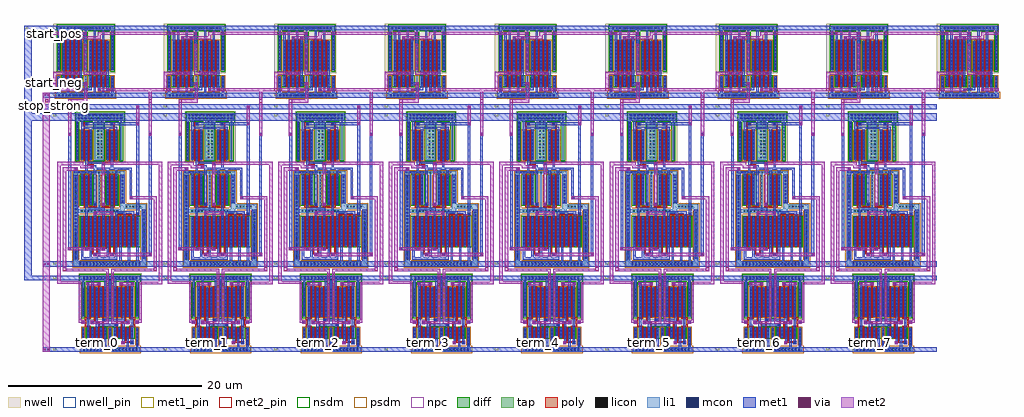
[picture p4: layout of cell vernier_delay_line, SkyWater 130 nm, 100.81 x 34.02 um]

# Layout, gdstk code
import gdstk
lib = gdstk.Library(unit=1e-6, precision=1e-09)
def R(c, l, rs):  # rectangles x0, y0, x1, y1
    for r in rs: c.add(gdstk.rectangle(r[:2], r[2:], *l))
def A(c, l, x, y, w, h, nx, ny, dx, dy):  # array of equal rectangles
    R(c, l, [(x+i*dx, y+j*dy, x+i*dx+w, y+j*dy+h) for i in range(nx) for j in range(ny)])
nwell_pin = (64, 16)
nwell = (64, 20)
diff = (65, 20)
tap = (65, 44)
poly = (66, 20)
licon = (66, 44)
li1 = (67, 20)
mcon = (67, 44)
met1_pin = (68, 16)
met1 = (68, 20)
via = (68, 44)
met2_pin = (69, 16)
met2 = (69, 20)
nsdm = (93, 44)
psdm = (94, 20)
npc = (95, 20)

sky130_fd_pr__pfet_01v8_ = lib.new_cell('sky130_fd_pr__pfet_01v8_2K9SAN')
R(sky130_fd_pr__pfet_01v8_, nwell, [(-0.545,-1.81,0.545,1.81)])
R(sky130_fd_pr__pfet_01v8_, diff, [(-0.365,-1.5,0.365,1.5)])
R(sky130_fd_pr__pfet_01v8_, poly, [(-0.075,-1.63,0.075,1.63)])
A(sky130_fd_pr__pfet_01v8_, licon, -0.305, -1.275, 0.17, 0.17, 1, 8, 0, 0.34)
A(sky130_fd_pr__pfet_01v8_, licon, 0.135, -1.275, 0.17, 0.17, 1, 8, 0, 0.34)
R(sky130_fd_pr__pfet_01v8_, li1, [(-0.305,-1.52,-0.135,1.52), (0.135,-1.52,0.305,1.52)])
A(sky130_fd_pr__pfet_01v8_, mcon, -0.305, -1.345, 0.17, 0.17, 1, 8, 0, 0.36)
A(sky130_fd_pr__pfet_01v8_, mcon, 0.135, -1.345, 0.17, 0.17, 1, 8, 0, 0.36)
R(sky130_fd_pr__pfet_01v8_, met1, [(-0.335,-1.5,-0.105,1.5), (0.105,-1.5,0.335,1.5)])
R(sky130_fd_pr__pfet_01v8_, psdm, [(-0.49,-1.625,0.49,1.625)])

sky130_fd_pr__nfet_01v8_ = lib.new_cell('sky130_fd_pr__nfet_01v8_NM9Y3C')
R(sky130_fd_pr__nfet_01v8_, diff, [(-0.365,-1.5,0.365,1.5)])
R(sky130_fd_pr__nfet_01v8_, poly, [(-0.075,-1.63,0.075,1.63)])
A(sky130_fd_pr__nfet_01v8_, licon, -0.305, -1.275, 0.17, 0.17, 1, 8, 0, 0.34)
A(sky130_fd_pr__nfet_01v8_, licon, 0.135, -1.275, 0.17, 0.17, 1, 8, 0, 0.34)
R(sky130_fd_pr__nfet_01v8_, li1, [(-0.305,-1.52,-0.135,1.52), (0.135,-1.52,0.305,1.52)])
A(sky130_fd_pr__nfet_01v8_, mcon, -0.305, -1.345, 0.17, 0.17, 1, 8, 0, 0.36)
A(sky130_fd_pr__nfet_01v8_, mcon, 0.135, -1.345, 0.17, 0.17, 1, 8, 0, 0.36)
R(sky130_fd_pr__nfet_01v8_, met1, [(-0.335,-1.5,-0.105,1.5), (0.105,-1.5,0.335,1.5)])
R(sky130_fd_pr__nfet_01v8_, nsdm, [(-0.49,-1.625,0.49,1.625)])

sense_amplifier = lib.new_cell('sense_amplifier')
R(sense_amplifier, nwell, [(-0.36,21.18,0.1,21.48), (1.63,21.18,2.74,24.8), (4.27,21.18,4.86,24.8), (-0.36,21.48,0.14,24.54), (-0.36,24.54,0.1,24.8), (0.31,24.73,0.54,24.8), (0.55,24.76,1.09,24.8), (-0.36,24.8,4.86,26.5)])
R(sense_amplifier, tap, [(-0.47,10.45,7.04,11.01), (-0.47,11.01,0.01,16.01), (6.56,11.01,7.04,16.42), (-0.47,16.01,4.85,16.41), (-0.47,16.41,0.01,20.13), (2.08,16.41,2.28,20.13), (4.37,16.41,4.85,16.42), (4.37,16.42,7.04,16.89), (4.37,16.89,4.85,20.13), (-0.47,20.13,4.85,20.3), (-0.17,21.47,0.01,25.53), (1.72,21.47,2.65,25.53), (4.36,21.47,4.54,25.53), (-0.17,25.53,4.68,26.32)])
R(sense_amplifier, poly, [(1.58,11.56,1.91,11.74), (3.34,11.56,3.67,11.74), (1.45,11.74,2.04,11.89), (3.21,11.74,3.8,11.89), (1.45,11.89,1.6,12.48), (1.89,11.89,2.04,12.48), (3.21,11.89,3.36,12.48), (3.65,11.89,3.8,12.48), (0.7,12.13,1.03,12.31), (2.46,12.13,2.79,12.31), (0.57,12.31,1.16,12.46), (2.33,12.31,2.92,12.46), (0.57,12.46,0.72,12.48), (1.01,12.46,1.16,12.48), (2.33,12.46,2.48,12.48), (2.77,12.46,2.92,12.48), (4.09,15.74,6.33,15.89), (6,15.89,6.33,16.07), (0.57,16.58,1.91,16.73), (2.45,16.58,3.8,16.73), (1.58,16.73,1.91,17.06), (2.45,16.73,2.78,17.06), (1.29,20.6,1.62,20.91), (1.01,20.91,1.62,21.06), (2.45,20.97,2.78,21.15), (1.01,21.06,1.16,21.36), (2.45,21.15,3.36,21.3), (3.21,21.3,3.36,21.37), (0.57,24.62,0.72,25.03), (3.65,24.62,3.8,25.03), (0.57,25.03,1.03,25.36), (3.34,25.03,3.8,25.36)])
A(sense_amplifier, licon, 0.14, 10.475, 0.17, 0.17, 19, 2, 0.34, 0.34)
A(sense_amplifier, licon, -0.315, 11.19, 0.17, 0.17, 1, 26, 0, 0.34)
A(sense_amplifier, licon, 6.715, 11.26, 0.17, 0.17, 1, 15, 0, 0.34)
A(sense_amplifier, licon, 0.3, 16.125, 0.17, 0.17, 5, 1, 0.34, 0)
A(sense_amplifier, licon, 2.6, 16.125, 0.17, 0.17, 5, 1, 0.34, 0)
A(sense_amplifier, licon, 4.935, 16.57, 0.17, 0.17, 5, 1, 0.34, 0)
A(sense_amplifier, licon, 2.095, 16.655, 0.17, 0.17, 1, 10, 0, 0.34)
A(sense_amplifier, licon, 4.525, 17.19, 0.17, 0.17, 1, 8, 0, 0.34)
A(sense_amplifier, licon, 0.025, 20.13, 0.17, 0.17, 6, 1, 0.34, 0)
A(sense_amplifier, licon, 2.475, 20.13, 0.17, 0.17, 6, 1, 0.34, 0)
A(sense_amplifier, licon, 2, 21.66, 0.17, 0.17, 1, 12, 0, 0.34)
A(sense_amplifier, licon, 2.34, 21.66, 0.17, 0.17, 1, 12, 0, 0.34)
A(sense_amplifier, licon, -0.165, 21.69, 0.17, 0.17, 1, 11, 0, 0.34)
A(sense_amplifier, licon, 4.365, 21.69, 0.17, 0.17, 1, 11, 0, 0.34)
A(sense_amplifier, licon, -0.04, 25.74, 0.17, 0.17, 14, 2, 0.34, 0.34)
R(sense_amplifier, licon, [(1.66,11.64,1.83,11.81), (3.42,11.64,3.59,11.81), (0.78,12.21,0.95,12.38), (2.54,12.21,2.71,12.38), (6.08,15.82,6.25,15.99), (2.095,16.125,2.265,16.295), (1.66,16.81,1.83,16.98), (2.53,16.81,2.7,16.98), (2.095,20.13,2.265,20.3), (1.37,20.68,1.54,20.85), (2.53,21.05,2.7,21.22), (0.79,25.11,0.96,25.28), (3.41,25.11,3.58,25.28)])
R(sense_amplifier, li1, [(-0.47,10.45,7.04,11.01), (-0.47,11.01,0.01,16.01), (6.56,11.01,7.04,16.42), (1.58,11.61,1.91,11.84), (3.34,11.61,3.67,11.84), (0.7,12.18,1.03,12.41), (2.46,12.18,2.79,12.41), (6,15.8,6.33,16.01), (-0.47,16.01,4.85,16.41), (-0.47,16.41,0.01,20.13), (2.08,16.41,2.28,20.13), (4.37,16.41,4.85,16.42), (4.37,16.42,7.04,16.89), (1.58,16.78,1.91,17.01), (2.45,16.78,2.78,17.01), (4.37,16.89,4.85,20.13), (-0.47,20.13,4.85,20.3), (1.34,20.6,1.57,20.94), (2.5,20.97,2.73,21.3), (-0.17,21.47,0.01,25.53), (1.72,21.47,2.65,25.53), (4.36,21.47,4.54,25.53), (0.76,25.03,0.99,25.36), (3.38,25.03,3.61,25.36), (-0.17,25.53,4.68,26.32)])
A(sense_amplifier, mcon, 0.14, 10.645, 0.17, 0.17, 18, 1, 0.36, 0)
A(sense_amplifier, mcon, -0.315, 11.3, 0.17, 0.17, 1, 24, 0, 0.36)
A(sense_amplifier, mcon, 6.715, 11.3, 0.17, 0.17, 1, 14, 0, 0.36)
A(sense_amplifier, mcon, 4.525, 17.12, 0.17, 0.17, 1, 8, 0, 0.36)
A(sense_amplifier, mcon, -0.165, 21.59, 0.17, 0.17, 1, 11, 0, 0.36)
A(sense_amplifier, mcon, 0.01, 25.66, 0.17, 0.17, 13, 2, 0.36, 0.36)
R(sense_amplifier, mcon, [(1.66,11.64,1.83,11.81), (3.42,11.64,3.59,11.81), (0.78,12.21,0.95,12.38), (2.54,12.21,2.71,12.38), (6.08,15.82,6.25,15.99), (1.66,16.81,1.83,16.98), (2.53,16.81,2.7,16.98), (1.37,20.68,1.54,20.85), (2.53,21.05,2.7,21.22), (0.79,25.11,0.96,25.28), (3.41,25.11,3.58,25.28)])
R(sense_amplifier, met1_pin, [(-2.57,10.69,-2.25,11.01), (-2.57,26,-2.25,26.32), (-2.57,26.91,-2.25,27.23)])
A(sense_amplifier, met1, 4.27, 11.01, 0.23, 1.6, 3, 1, 0.88, 0)
A(sense_amplifier, met1, 0.31, 11.42, 0.23, 1.19, 5, 1, 0.88, 0)
A(sense_amplifier, met1, 3.83, 15.61, 0.23, 0.34, 3, 1, 0.88, 0)
R(sense_amplifier, met1, [(-2.57,10.45,8.84,11.01), (-0.47,11.01,0.01,19.93), (6.56,11.01,7.04,16.33), (0.31,11.19,4.06,11.42), (1.58,11.56,1.91,11.89), (3.34,11.56,3.67,11.89), (7.3,11.56,7.63,11.89), (7.3,11.89,7.59,23.98), (-1.04,12.13,-0.71,12.46), (0.7,12.13,1.03,12.46), (2.46,12.13,2.79,12.46), (-1,12.46,-0.71,23.98), (0.75,15.61,0.98,16.31), (1.63,15.61,1.86,15.84), (2.51,15.61,2.74,16.31), (3.39,15.61,3.62,15.84), (6.02,15.78,6.31,25.06), (1.63,15.84,1.96,16.17), (3.29,15.84,3.62,16.17), (3.83,15.95,5.82,16.18), (3.39,16.17,3.62,16.86), (0.75,16.31,2.74,16.54), (0.75,16.54,0.98,16.86), (2.45,16.73,2.78,17.06), (1.62,16.75,1.87,20.47), (4.37,17,4.85,19.93), (5.33,17.42,5.65,17.74), (5.33,17.74,5.56,20.47), (0.31,19.86,0.54,20.1), (1.19,19.86,1.42,20.1), (2.95,19.86,3.18,20.47), (3.83,19.86,4.06,20.47), (-0.37,20.1,1.42,20.33), (-0.37,20.33,-0.03,20.72), (0.75,20.33,0.98,21.08), (1.62,20.47,5.56,20.6), (1.29,20.6,5.56,20.7), (1.29,20.7,1.87,20.94), (3.39,20.7,3.62,21.49), (2.45,20.97,2.78,21.08), (0.75,21.08,2.78,21.3), (0.75,21.3,0.98,21.49), (-0.2,21.49,0.04,25.53), (-1.03,23.98,-0.71,24.3), (7.3,23.98,7.62,24.3), (0.31,24.49,0.54,24.68), (1.19,24.49,1.42,24.68), (2.95,24.49,3.18,24.68), (3.83,24.49,4.06,24.68), (0.31,24.68,4.06,24.91), (0.31,24.91,0.54,25.53), (6.02,25.06,6.34,25.08), (0.73,25.08,6.34,25.38), (-2.57,25.53,8.84,26.32), (-2.57,26.73,8.84,27.23)])
R(sense_amplifier, via, [(1.67,11.65,1.82,11.8), (3.43,11.65,3.58,11.8), (7.39,11.65,7.54,11.8), (-0.95,12.22,-0.8,12.37), (0.79,12.22,0.94,12.37), (2.55,12.22,2.7,12.37), (1.725,15.93,1.875,16.08), (3.385,15.93,3.535,16.08), (2.54,16.82,2.69,16.97), (5.415,17.505,5.565,17.655), (-0.275,20.475,-0.125,20.625), (1.38,20.69,1.53,20.84), (2.54,21.06,2.69,21.21), (-0.945,24.065,-0.795,24.215), (7.385,24.065,7.535,24.215), (6.105,25.145,6.255,25.295), (6.105,26.835,6.255,26.985)])
R(sense_amplifier, met2_pin, [(-1.56,10.06,-1.22,10.4), (7.81,10.06,8.14,10.39), (-1.03,27.41,-0.71,27.73), (7.3,27.41,7.62,27.73)])
R(sense_amplifier, met2, [(-2.12,10.06,-1.78,20.94), (-1.56,10.06,-1.22,20.38), (7.81,10.06,8.14,17.42), (8.36,10.06,8.69,20.98), (1.58,11.56,7.63,11.89), (-1.04,12.13,2.79,12.46), (1.63,15.84,3.62,16.17), (2.45,16.73,2.78,20.98), (5.33,17.42,8.14,17.74), (-1.56,20.38,-0.03,20.72), (0.21,20.6,1.62,20.94), (-2.12,20.94,0.55,21.28), (2.45,20.98,8.69,21.28), (2.45,21.28,2.78,21.3), (-1.03,23.98,-0.71,27.73), (7.3,23.98,7.62,27.73), (6.02,25.06,6.34,27.08)])
R(sense_amplifier, nsdm, [(-0.295,21.345,0.135,25.405), (1.595,21.345,2.775,25.405), (4.235,21.345,4.665,25.405), (-0.295,25.405,4.805,26.445)])
R(sense_amplifier, psdm, [(-0.595,10.325,7.165,11.135), (-0.595,11.135,0.135,15.885), (6.435,11.135,7.165,16.295), (-0.595,15.885,4.975,16.295), (-0.595,16.295,7.165,16.535), (-0.595,16.535,0.135,20.005), (1.955,16.535,2.405,20.005), (4.245,16.535,7.165,17.015), (4.245,17.015,4.975,20.005), (-0.595,20.005,4.975,20.425)])
R(sense_amplifier, npc, [(1.56,11.54,1.93,11.91), (3.32,11.54,3.69,11.91), (0.68,12.11,1.05,12.48), (2.44,12.11,2.81,12.48), (5.98,15.72,6.35,16.09), (1.56,16.71,1.93,17.08), (2.43,16.71,2.8,17.08), (1.27,20.58,1.64,20.95), (2.43,20.95,2.8,21.32), (0.69,25.01,1.06,25.38), (3.31,25.01,3.68,25.38)])
sense_amplifier.add(gdstk.Reference(sky130_fd_pr__pfet_01v8_, (3.285,22.99)))
sense_amplifier.add(gdstk.Reference(sky130_fd_pr__pfet_01v8_, (1.085,22.99)))
sense_amplifier.add(gdstk.Reference(sky130_fd_pr__pfet_01v8_, (0.645,22.99)))
sense_amplifier.add(gdstk.Reference(sky130_fd_pr__pfet_01v8_, (3.725,22.99)))
sense_amplifier.add(gdstk.Reference(sky130_fd_pr__nfet_01v8_, (5.485,14.11)))
sense_amplifier.add(gdstk.Reference(sky130_fd_pr__nfet_01v8_, (5.045,14.11)))
sense_amplifier.add(gdstk.Reference(sky130_fd_pr__nfet_01v8_, (4.605,14.11)))
sense_amplifier.add(gdstk.Reference(sky130_fd_pr__nfet_01v8_, (4.165,14.11)))
sense_amplifier.add(gdstk.Reference(sky130_fd_pr__nfet_01v8_, (2.405,14.11)))
sense_amplifier.add(gdstk.Reference(sky130_fd_pr__nfet_01v8_, (3.285,14.11)))
sense_amplifier.add(gdstk.Reference(sky130_fd_pr__nfet_01v8_, (2.845,14.11)))
sense_amplifier.add(gdstk.Reference(sky130_fd_pr__nfet_01v8_, (5.925,14.11)))
sense_amplifier.add(gdstk.Reference(sky130_fd_pr__nfet_01v8_, (1.965,14.11)))
sense_amplifier.add(gdstk.Reference(sky130_fd_pr__nfet_01v8_, (1.525,14.11)))
sense_amplifier.add(gdstk.Reference(sky130_fd_pr__nfet_01v8_, (1.085,14.11)))
sense_amplifier.add(gdstk.Reference(sky130_fd_pr__nfet_01v8_, (3.725,14.11)))
sense_amplifier.add(gdstk.Reference(sky130_fd_pr__nfet_01v8_, (3.725,18.36)))
sense_amplifier.add(gdstk.Reference(sky130_fd_pr__nfet_01v8_, (3.285,18.36)))
sense_amplifier.add(gdstk.Reference(sky130_fd_pr__nfet_01v8_, (0.645,18.36)))
sense_amplifier.add(gdstk.Reference(sky130_fd_pr__nfet_01v8_, (1.085,18.36)))
sense_amplifier.add(gdstk.Reference(sky130_fd_pr__nfet_01v8_, (0.645,14.11)))
sense_amplifier.add(gdstk.Label('d', (-0.87,27.57), layer=69, texttype=5))
sense_amplifier.add(gdstk.Label('nd', (7.46,27.57), layer=69, texttype=5))
sense_amplifier.add(gdstk.Label('clk', (-2.41,27.07), layer=68, texttype=5))
sense_amplifier.add(gdstk.Label('out1', (-1.39,10.23), layer=69, texttype=5))
sense_amplifier.add(gdstk.Label('out2', (7.975,10.225), layer=69, texttype=5))
sense_amplifier.add(gdstk.Label('VDD', (-2.41,26.16), layer=68, texttype=5))
sense_amplifier.add(gdstk.Label('VSS', (-2.41,10.85), layer=68, texttype=5))

c_sky130_fd_pr__nfet_01v8_ = lib.new_cell('sky130_fd_pr__nfet_01v8_6H9P4D')
R(c_sky130_fd_pr__nfet_01v8_, diff, [(-0.365,-0.5,0.365,0.5)])
R(c_sky130_fd_pr__nfet_01v8_, poly, [(-0.075,-0.63,0.075,0.63)])
A(c_sky130_fd_pr__nfet_01v8_, licon, -0.305, -0.425, 0.17, 0.17, 1, 3, 0, 0.34)
A(c_sky130_fd_pr__nfet_01v8_, licon, 0.135, -0.425, 0.17, 0.17, 1, 3, 0, 0.34)
R(c_sky130_fd_pr__nfet_01v8_, li1, [(-0.305,-0.52,-0.135,0.52), (0.135,-0.52,0.305,0.52)])
R(c_sky130_fd_pr__nfet_01v8_, mcon, [(-0.305,-0.265,-0.135,-0.095), (0.135,-0.265,0.305,-0.095), (-0.305,0.095,-0.135,0.265), (0.135,0.095,0.305,0.265)])
R(c_sky130_fd_pr__nfet_01v8_, met1, [(-0.335,-0.5,-0.105,0.5), (0.105,-0.5,0.335,0.5)])
R(c_sky130_fd_pr__nfet_01v8_, nsdm, [(-0.49,-0.625,0.49,0.625)])

saff_bottom_latch = lib.new_cell('saff_bottom_latch')
R(saff_bottom_latch, nwell, [(29.22,-5.56,29.95,-1.94), (32.21,-5.56,33.3,-1.94), (34.98,-5.56,35.7,-1.94), (29.22,-1.94,35.7,-0.76)])
R(saff_bottom_latch, tap, [(29.43,-8.9,35.5,-8.39), (29.59,-8.39,29.77,-6.4), (32.36,-8.39,32.54,-6.4), (35.16,-8.39,35.34,-6.4), (29.59,-5.27,29.77,-1.52), (32.36,-5.27,32.54,-1.52), (35.16,-5.27,35.34,-1.52), (29.4,-1.52,35.52,-1.01)])
R(saff_bottom_latch, poly, [(34.55,-8.11,34.88,-7.93), (30.02,-8.1,30.35,-7.92), (33.98,-7.93,34.88,-7.78), (30.02,-7.92,30.92,-7.77), (33.98,-7.78,34.13,-7.55), (30.77,-7.77,30.92,-7.54), (29.83,-6.34,30.48,-6.19), (34.42,-6.34,35.07,-6.19), (33.1,-6.3,33.25,-6.26), (31.21,-6.29,31.36,-5.98), (31.65,-6.29,31.8,-5.74), (33.54,-6.29,33.69,-5.98), (32.92,-6.26,33.25,-5.97), (29.83,-6.19,29.98,-5.99), (34.92,-6.19,35.07,-5.99), (29.5,-5.99,29.98,-5.66), (34.92,-5.99,35.4,-5.66), (30.44,-5.98,31.36,-5.83), (33.54,-5.98,34.46,-5.83), (33.1,-5.97,33.25,-5.38), (30.44,-5.83,30.92,-5.69), (33.98,-5.83,34.46,-5.69), (31.65,-5.74,31.98,-5.45), (30.77,-5.69,30.92,-5.38), (33.98,-5.69,34.13,-5.38), (29.83,-5.66,29.98,-5.48), (34.92,-5.66,35.07,-5.48), (29.83,-5.48,30.48,-5.33), (34.42,-5.48,35.07,-5.33), (31.65,-5.45,31.8,-5.38), (31.21,-2.13,31.36,-2.03), (33.54,-2.12,33.69,-2.02), (31.13,-2.03,31.46,-1.7), (33.44,-2.02,33.77,-1.69)])
A(saff_bottom_latch, licon, 29.66, -8.9, 0.17, 0.17, 17, 2, 0.34, 0.34)
A(saff_bottom_latch, licon, 29.595, -8.135, 0.17, 0.17, 1, 5, 0, 0.34)
A(saff_bottom_latch, licon, 32.365, -8.135, 0.17, 0.17, 1, 5, 0, 0.34)
A(saff_bottom_latch, licon, 35.165, -8.135, 0.17, 0.17, 1, 5, 0, 0.34)
A(saff_bottom_latch, licon, 29.595, -5.14, 0.17, 0.17, 1, 9, 0, 0.34)
A(saff_bottom_latch, licon, 32.365, -5.14, 0.17, 0.17, 1, 9, 0, 0.34)
A(saff_bottom_latch, licon, 35.165, -5.14, 0.17, 0.17, 1, 9, 0, 0.34)
A(saff_bottom_latch, licon, 29.655, -1.52, 0.17, 0.17, 17, 2, 0.34, 0.34)
R(saff_bottom_latch, licon, [(34.63,-8.03,34.8,-7.86), (30.1,-8.02,30.27,-7.85), (33,-6.2,33.17,-6.03), (30.52,-5.92,30.69,-5.75), (34.21,-5.92,34.38,-5.75), (29.58,-5.91,29.75,-5.74), (35.15,-5.91,35.32,-5.74), (31.73,-5.68,31.9,-5.51), (31.21,-1.95,31.38,-1.78), (33.52,-1.94,33.69,-1.77)])
R(saff_bottom_latch, li1, [(29.43,-8.9,35.5,-8.39), (29.59,-8.39,29.77,-6.4), (32.36,-8.39,32.54,-6.4), (35.16,-8.39,35.34,-6.4), (34.55,-8.06,34.88,-7.83), (30.02,-8.05,30.35,-7.82), (32.92,-6.23,33.25,-6), (34.13,-5.95,34.46,-5.72), (29.5,-5.94,29.83,-5.71), (30.44,-5.94,30.77,-5.73), (35.07,-5.94,35.4,-5.71), (31.65,-5.71,31.98,-5.48), (29.59,-5.27,29.77,-1.52), (32.36,-5.27,32.54,-1.52), (35.16,-5.27,35.34,-1.52), (31.13,-1.98,31.46,-1.75), (33.44,-1.97,33.77,-1.74), (29.4,-1.52,35.52,-1.01)])
A(saff_bottom_latch, mcon, 29.68, -8.73, 0.17, 0.17, 16, 1, 0.36, 0)
A(saff_bottom_latch, mcon, 29.595, -8.185, 0.17, 0.17, 1, 5, 0, 0.36)
A(saff_bottom_latch, mcon, 32.365, -8.185, 0.17, 0.17, 1, 5, 0, 0.36)
A(saff_bottom_latch, mcon, 35.165, -8.185, 0.17, 0.17, 1, 5, 0, 0.36)
A(saff_bottom_latch, mcon, 29.595, -5.04, 0.17, 0.17, 1, 8, 0, 0.36)
A(saff_bottom_latch, mcon, 32.365, -5.04, 0.17, 0.17, 1, 8, 0, 0.36)
A(saff_bottom_latch, mcon, 35.165, -5.04, 0.17, 0.17, 1, 8, 0, 0.36)
A(saff_bottom_latch, mcon, 29.675, -1.35, 0.17, 0.17, 16, 1, 0.36, 0)
R(saff_bottom_latch, mcon, [(34.63,-8.03,34.8,-7.86), (30.1,-8.02,30.27,-7.85), (33,-6.2,33.17,-6.03), (30.52,-5.92,30.69,-5.75), (34.21,-5.92,34.38,-5.75), (29.58,-5.91,29.75,-5.74), (35.15,-5.91,35.32,-5.74), (31.73,-5.68,31.9,-5.51), (31.21,-1.95,31.38,-1.78), (33.52,-1.94,33.69,-1.77)])
R(saff_bottom_latch, met1_pin, [(29.22,-8.6,29.43,-8.39), (29.22,-1.19,29.4,-1.01)])
R(saff_bottom_latch, met1, [(29.22,-8.9,35.7,-8.39), (29.56,-8.39,29.8,-6.4), (30.51,-8.39,30.74,-7.42), (31.83,-8.39,32.06,-7.42), (32.33,-8.39,32.57,-6.4), (32.84,-8.39,33.07,-7.42), (34.16,-8.39,34.39,-7.42), (35.13,-8.39,35.37,-6.4), (34.6,-8.11,34.83,-7.42), (30.07,-8.1,30.3,-7.42), (33.63,-8.1,33.95,-7.78), (30.95,-8.09,31.27,-7.77), (33.72,-7.78,33.95,-7.42), (30.95,-7.77,31.18,-7.42), (30.07,-6.42,30.3,-5.25), (30.95,-6.42,31.18,-6.23), (33.72,-6.42,33.95,-5.71), (34.6,-6.42,34.83,-5.25), (30.95,-6.23,33.25,-6), (30.44,-6,30.77,-5.67), (30.95,-6,31.18,-5.25), (34.13,-6,34.46,-5.67), (29.5,-5.99,29.83,-5.66), (35.07,-5.99,35.4,-5.66), (31.65,-5.71,33.95,-5.48), (33.72,-5.48,33.95,-5.25), (29.56,-5.27,29.8,-1.52), (32.33,-5.27,32.57,-1.52), (35.13,-5.27,35.37,-1.52), (30.07,-2.25,30.3,-2.03), (30.51,-2.25,30.74,-1.52), (31.83,-2.25,32.06,-1.52), (32.84,-2.25,33.07,-1.52), (34.16,-2.25,34.39,-1.52), (34.6,-2.25,34.83,-2.02), (29.97,-2.03,30.3,-1.7), (31.13,-2.03,31.46,-1.7), (33.44,-2.02,33.77,-1.69), (34.6,-2.02,34.93,-1.69), (29.22,-1.52,35.7,-1.01)])
R(saff_bottom_latch, via, [(33.715,-8.015,33.865,-7.865), (31.035,-8.005,31.185,-7.855), (30.53,-5.91,30.68,-5.76), (34.22,-5.91,34.37,-5.76), (29.59,-5.9,29.74,-5.75), (35.16,-5.9,35.31,-5.75), (30.06,-1.94,30.21,-1.79), (31.22,-1.94,31.37,-1.79), (33.53,-1.93,33.68,-1.78), (34.69,-1.93,34.84,-1.78)])
R(saff_bottom_latch, met2_pin, [(33.63,-8.1,33.95,-7.78), (30.95,-8.09,31.27,-7.77), (32.08,-2.04,32.31,-1.8), (32.59,-2.04,32.82,-1.8), (35.47,-1.9,35.7,-1.66), (29.22,-1.86,29.45,-1.62)])
R(saff_bottom_latch, met2, [(33.63,-8.1,33.95,-7.78), (30.95,-8.09,31.27,-7.77), (30.44,-6,30.77,-5.97), (34.13,-6,34.46,-5.97), (29.5,-5.99,29.83,-5.89), (35.07,-5.99,35.4,-5.89), (30.44,-5.97,32.31,-5.73), (32.59,-5.97,34.46,-5.74), (29.22,-5.89,29.83,-5.66), (35.07,-5.89,35.7,-5.66), (32.59,-5.74,32.82,-1.8), (34.13,-5.74,34.46,-5.67), (30.44,-5.73,30.77,-5.67), (32.08,-5.73,32.31,-1.8), (29.22,-5.66,29.45,-1.62), (35.47,-5.66,35.7,-1.66), (29.97,-2.03,31.46,-1.7), (33.44,-2.02,34.93,-1.69)])
R(saff_bottom_latch, nsdm, [(29.465,-5.395,29.895,-1.645), (32.235,-5.395,32.665,-1.645), (35.035,-5.395,35.465,-1.645), (29.275,-1.645,35.645,-0.885)])
R(saff_bottom_latch, psdm, [(29.305,-9.025,35.625,-8.265), (29.465,-8.265,29.895,-6.275), (32.235,-8.265,32.665,-6.275), (35.035,-8.265,35.465,-6.275)])
R(saff_bottom_latch, npc, [(34.53,-8.13,34.9,-7.76), (30,-8.12,30.37,-7.75), (32.9,-6.3,33.27,-5.93), (30.42,-6.02,30.79,-5.65), (34.11,-6.02,34.48,-5.65), (29.48,-6.01,29.85,-5.64), (35.05,-6.01,35.42,-5.64), (31.63,-5.78,32,-5.41), (31.11,-2.05,31.48,-1.68), (33.42,-2.04,33.79,-1.67)])
saff_bottom_latch.add(gdstk.Reference(sky130_fd_pr__pfet_01v8_, (34.495,-3.75)))
saff_bottom_latch.add(gdstk.Reference(sky130_fd_pr__pfet_01v8_, (34.055,-3.75)))
saff_bottom_latch.add(gdstk.Reference(sky130_fd_pr__pfet_01v8_, (33.615,-3.75)))
saff_bottom_latch.add(gdstk.Reference(sky130_fd_pr__pfet_01v8_, (33.175,-3.75)))
saff_bottom_latch.add(gdstk.Reference(sky130_fd_pr__pfet_01v8_, (31.725,-3.75)))
saff_bottom_latch.add(gdstk.Reference(sky130_fd_pr__pfet_01v8_, (31.285,-3.75)))
saff_bottom_latch.add(gdstk.Reference(sky130_fd_pr__pfet_01v8_, (30.845,-3.75)))
saff_bottom_latch.add(gdstk.Reference(sky130_fd_pr__pfet_01v8_, (30.405,-3.75)))
saff_bottom_latch.add(gdstk.Reference(c_sky130_fd_pr__nfet_01v8_, (34.495,-6.92)))
saff_bottom_latch.add(gdstk.Reference(c_sky130_fd_pr__nfet_01v8_, (34.055,-6.92)))
saff_bottom_latch.add(gdstk.Reference(c_sky130_fd_pr__nfet_01v8_, (33.615,-6.92)))
saff_bottom_latch.add(gdstk.Reference(c_sky130_fd_pr__nfet_01v8_, (33.175,-6.92)))
saff_bottom_latch.add(gdstk.Reference(c_sky130_fd_pr__nfet_01v8_, (31.725,-6.92)))
saff_bottom_latch.add(gdstk.Reference(c_sky130_fd_pr__nfet_01v8_, (31.285,-6.92)))
saff_bottom_latch.add(gdstk.Reference(c_sky130_fd_pr__nfet_01v8_, (30.845,-6.92)))
saff_bottom_latch.add(gdstk.Reference(c_sky130_fd_pr__nfet_01v8_, (30.405,-6.92)))
saff_bottom_latch.add(gdstk.Label('a1', (32.195,-1.92), layer=69, texttype=5))
saff_bottom_latch.add(gdstk.Label('a2', (35.585,-1.78), layer=69, texttype=5))
saff_bottom_latch.add(gdstk.Label('b1', (32.705,-1.92), layer=69, texttype=5))
saff_bottom_latch.add(gdstk.Label('b2', (29.335,-1.74), layer=69, texttype=5))
saff_bottom_latch.add(gdstk.Label('c', (31.11,-7.93), layer=69, texttype=5))
saff_bottom_latch.add(gdstk.Label('nc', (33.79,-7.94), layer=69, texttype=5))
saff_bottom_latch.add(gdstk.Label('VDD', (29.31,-1.1), layer=68, texttype=5))
saff_bottom_latch.add(gdstk.Label('VSS', (29.325,-8.495), layer=68, texttype=5))

saff_2 = lib.new_cell('saff_2')
R(saff_2, met1_pin, [(0,-8.22,0.32,-7.9), (0,-0.84,0.32,-0.52), (0,0.63,0.32,0.95), (0,15.94,0.32,16.26), (0,16.85,0.32,17.17)])
R(saff_2, met1, [(0,-8.41,11.41,-7.9), (0,-1.03,2.65,-0.52), (9.13,-1.03,11.41,-0.52), (0,0.63,0.32,0.95), (0,15.94,0.32,16.26), (0,16.85,0.32,17.17)])
R(saff_2, met2_pin, [(7.06,-7.61,7.38,-7.29), (4.38,-7.6,4.7,-7.28), (1.54,17.35,1.86,17.67), (9.87,17.35,10.19,17.67)])
R(saff_2, met2, [(7.06,-7.61,7.38,-7.29), (4.38,-7.6,4.7,-7.28), (8.9,-1.41,11.26,-1.17), (0.45,-1.37,2.88,-1.13), (5.51,-1.31,5.74,-0.06), (6.02,-1.31,6.25,-0.06), (10.93,-1.17,11.26,0), (0.45,-1.13,0.79,0), (1.01,-0.06,5.74,0.17), (6.02,-0.06,10.71,0.17), (1.54,17.35,1.86,17.67), (9.87,17.35,10.19,17.67)])
saff_2.add(gdstk.Reference(sense_amplifier, (2.57,-10.06)))
saff_2.add(gdstk.Reference(saff_bottom_latch, (-26.57,0.49)))
saff_2.add(gdstk.Label('d', (1.7,17.51), layer=69, texttype=5))
saff_2.add(gdstk.Label('nd', (10.03,17.51), layer=69, texttype=5))
saff_2.add(gdstk.Label('clk', (0.16,17.01), layer=68, texttype=5))
saff_2.add(gdstk.Label('q', (4.54,-7.44), layer=69, texttype=5))
saff_2.add(gdstk.Label('nq', (7.22,-7.45), layer=69, texttype=5))
saff_2.add(gdstk.Label('VDD1', (0.16,16.1), layer=68, texttype=5))
saff_2.add(gdstk.Label('VSS1', (0.16,0.79), layer=68, texttype=5))
saff_2.add(gdstk.Label('VDD2', (0.16,-0.68), layer=68, texttype=5))
saff_2.add(gdstk.Label('VSS2', (0.16,-8.06), layer=68, texttype=5))

delay_unit_2 = lib.new_cell('delay_unit_2')
R(delay_unit_2, nwell_pin, [(-1.91,6.4,-1.59,6.72)])
R(delay_unit_2, nwell, [(-2.22,1.8,-1.46,5.42), (-0.99,1.8,-0.4,1.98), (-0.11,1.8,0.48,1.98), (0.95,1.8,1.34,1.94), (1.42,1.8,1.89,5.32), (1.92,1.8,2.29,1.98), (3.59,1.8,4.18,5.42), (0.94,1.94,1.34,4.85), (0.95,4.85,1.34,5.4), (1.35,5.32,1.89,5.4), (2.37,5.32,2.69,5.42), (0.95,5.4,1.89,5.42), (-2.22,5.42,4.18,6.9)])
A(delay_unit_2, tap, -1.74, -0.23, 0.19, 1.71, 3, 1, 2.78, 0)
R(delay_unit_2, tap, [(-1.91,-0.71,4.18,-0.23), (-1.73,2.09,-1.55,6.24), (1.04,2.09,1.23,6.24), (3.82,2.09,4,6.24), (-1.73,6.24,4,6.72)])
A(delay_unit_2, poly, -0.99, 1.59, 0.15, 0.04, 4, 1, 0.44, 0)
A(delay_unit_2, poly, 1.79, 1.59, 0.15, 0.04, 4, 1, 0.44, 0)
A(delay_unit_2, poly, -0.99, 1.93, 0.15, 0.05, 4, 1, 0.44, 0)
A(delay_unit_2, poly, 1.79, 1.93, 0.15, 0.05, 4, 1, 0.44, 0)
R(delay_unit_2, poly, [(-0.99,1.63,-0.4,1.93), (-0.11,1.63,0.48,1.93), (1.79,1.63,2.38,1.93), (2.67,1.63,3.26,1.93)])
A(delay_unit_2, licon, -1.67, -0.555, 0.17, 0.17, 17, 1, 0.34, 0)
A(delay_unit_2, licon, -1.73, 0.06, 0.17, 0.17, 3, 4, 2.78, 0.34)
A(delay_unit_2, licon, -1.725, 2.355, 0.17, 0.17, 3, 11, 2.775, 0.34)
A(delay_unit_2, licon, -1.52, 6.395, 0.17, 0.17, 16, 1, 0.34, 0)
R(delay_unit_2, licon, [(-0.785,1.695,-0.615,1.865), (0.095,1.695,0.265,1.865), (1.995,1.695,2.165,1.865), (2.885,1.695,3.055,1.865)])
A(delay_unit_2, li1, -1.74, -0.23, 0.19, 1.71, 3, 1, 2.78, 0)
R(delay_unit_2, li1, [(-1.91,-0.71,4.18,-0.23), (-0.87,1.69,-0.53,1.87), (0.01,1.69,0.35,1.87), (1.91,1.69,2.25,1.87), (2.8,1.69,3.14,1.87), (-1.73,2.09,-1.55,6.24), (1.04,2.09,1.23,6.24), (3.82,2.09,4,6.24), (-1.73,6.24,4,6.72)])
A(delay_unit_2, mcon, -1.65, -0.555, 0.17, 0.17, 16, 1, 0.36, 0)
A(delay_unit_2, mcon, -1.73, 0.03, 0.17, 0.17, 1, 4, 0, 0.36)
A(delay_unit_2, mcon, 3.83, 0.03, 0.17, 0.17, 1, 4, 0, 0.36)
A(delay_unit_2, mcon, -1.725, 2.255, 0.17, 0.17, 1, 11, 0, 0.36)
A(delay_unit_2, mcon, 3.825, 2.255, 0.17, 0.17, 1, 11, 0, 0.36)
A(delay_unit_2, mcon, -1.49, 6.395, 0.17, 0.17, 15, 1, 0.36, 0)
R(delay_unit_2, mcon, [(-0.785,1.695,-0.615,1.865), (0.095,1.695,0.265,1.865), (1.995,1.695,2.165,1.865), (2.885,1.695,3.055,1.865)])
R(delay_unit_2, met1_pin, [(-2.21,-0.55,-1.89,-0.23)])
A(delay_unit_2, met1, 1.53, 0.25, 0.23, 0.21, 3, 1, 0.88, 0)
A(delay_unit_2, met1, -1.25, 1.46, 0.23, 0.65, 3, 1, 0.88, 0)
A(delay_unit_2, met1, 1.53, 1.46, 0.23, 0.65, 3, 1, 0.88, 0)
R(delay_unit_2, met1, [(-2.22,-0.71,4.18,-0.23), (-1.77,-0.23,-1.52,1.48), (-0.81,-0.23,-0.58,0.47), (0.07,-0.23,0.3,0.46), (1.97,-0.23,2.2,0.46), (2.85,-0.23,3.08,0.46), (3.79,-0.23,4.04,1.48), (0.51,-0.07,0.83,0.02), (2.37,-0.07,2.69,0.25), (3.29,-0.07,3.61,0.25), (0.51,0.02,1.76,0.25), (0.51,0.44,0.74,0.46), (-0.86,1.63,-0.54,1.93), (0.02,1.63,0.34,1.93), (1.92,1.63,2.24,1.93), (2.81,1.63,3.13,1.93), (-1.76,2.09,-1.52,6.24), (3.79,2.09,4.03,6.24), (1.04,2.21,1.23,4.53), (0.94,4.53,1.26,6.1), (-1.25,5.11,-1.02,5.78), (-0.81,5.11,-0.58,6.24), (-0.37,5.11,-0.14,5.32), (0.07,5.11,0.3,6.24), (0.51,5.11,0.74,5.32), (1.97,5.11,2.2,6.24), (2.85,5.11,3.08,6.24), (-0.41,5.32,-0.09,5.64), (0.46,5.32,0.78,5.64), (-1.34,5.78,-1.02,6.1), (-2.22,6.24,4.18,6.72)])
R(delay_unit_2, via, [(0.595,0.015,0.745,0.165), (2.455,0.015,2.605,0.165), (3.375,0.015,3.525,0.165), (-0.775,1.705,-0.625,1.855), (0.105,1.705,0.255,1.855), (2.005,1.705,2.155,1.855), (2.895,1.705,3.045,1.855), (1.025,4.615,1.175,4.765), (-0.325,5.405,-0.175,5.555), (0.545,5.405,0.695,5.555), (-1.255,5.865,-1.105,6.015), (1.025,5.865,1.175,6.015)])
R(delay_unit_2, met2_pin, [(-2.22,-0.07,-1.9,0.25), (3.86,-0.07,4.18,0.25), (-1.91,5.78,-1.59,6.1), (3.86,5.78,4.18,6.1)])
R(delay_unit_2, met2, [(-2.22,-0.07,0.83,0.25), (2.37,-0.07,4.18,0.25), (-2.22,0.25,-1.9,1.62), (-2.22,1.62,0.48,1.94), (0.94,1.62,3.27,1.94), (0.94,1.94,1.26,4.85), (-0.41,5.32,2.69,5.64), (2.37,5.64,2.69,5.78), (-2.22,5.78,1.26,6.1), (2.37,5.78,4.18,6.1)])
R(delay_unit_2, nsdm, [(-1.855,1.965,-1.425,6.115), (0.915,1.965,1.355,6.115), (3.695,1.965,4.125,6.115), (-1.855,6.115,4.125,6.845)])
A(delay_unit_2, psdm, -1.865, -0.105, 0.44, 1.71, 3, 1, 2.78, 0)
R(delay_unit_2, psdm, [(-2.035,-0.835,4.305,-0.105)])
R(delay_unit_2, npc, [(-0.885,1.595,-0.515,1.965), (-0.005,1.595,0.365,1.965), (1.895,1.595,2.265,1.965), (2.785,1.595,3.155,1.965)])
delay_unit_2.add(gdstk.Reference(sky130_fd_pr__pfet_01v8_, (2.745,3.61)))
delay_unit_2.add(gdstk.Reference(sky130_fd_pr__pfet_01v8_, (3.185,3.61)))
delay_unit_2.add(gdstk.Reference(sky130_fd_pr__pfet_01v8_, (1.865,3.61)))
delay_unit_2.add(gdstk.Reference(sky130_fd_pr__pfet_01v8_, (2.305,3.61)))
delay_unit_2.add(gdstk.Reference(sky130_fd_pr__pfet_01v8_, (-0.915,3.61)))
delay_unit_2.add(gdstk.Reference(sky130_fd_pr__pfet_01v8_, (-0.475,3.61)))
delay_unit_2.add(gdstk.Reference(sky130_fd_pr__pfet_01v8_, (-0.035,3.61)))
delay_unit_2.add(gdstk.Reference(sky130_fd_pr__pfet_01v8_, (0.405,3.61)))
delay_unit_2.add(gdstk.Reference(c_sky130_fd_pr__nfet_01v8_, (3.185,0.96)))
delay_unit_2.add(gdstk.Reference(c_sky130_fd_pr__nfet_01v8_, (2.745,0.96)))
delay_unit_2.add(gdstk.Reference(c_sky130_fd_pr__nfet_01v8_, (2.305,0.96)))
delay_unit_2.add(gdstk.Reference(c_sky130_fd_pr__nfet_01v8_, (1.865,0.96)))
delay_unit_2.add(gdstk.Reference(c_sky130_fd_pr__nfet_01v8_, (-0.915,0.96)))
delay_unit_2.add(gdstk.Reference(c_sky130_fd_pr__nfet_01v8_, (-0.475,0.96)))
delay_unit_2.add(gdstk.Reference(c_sky130_fd_pr__nfet_01v8_, (-0.035,0.96)))
delay_unit_2.add(gdstk.Reference(c_sky130_fd_pr__nfet_01v8_, (0.405,0.96)))
delay_unit_2.add(gdstk.Label('in_1', (-1.75,5.94), layer=69, texttype=5))
delay_unit_2.add(gdstk.Label('in_2', (-2.06,0.09), layer=69, texttype=5))
delay_unit_2.add(gdstk.Label('out_1', (4.02,5.94), layer=69, texttype=5))
delay_unit_2.add(gdstk.Label('out_2', (4.02,0.09), layer=69, texttype=5))
delay_unit_2.add(gdstk.Label('VDD', (-1.75,6.56), layer=64, texttype=5))
delay_unit_2.add(gdstk.Label('VSS', (-2.05,-0.39), layer=68, texttype=5))

saff_delay_unit = lib.new_cell('saff_delay_unit')
R(saff_delay_unit, met1, [(6.4,26.28,11.41,26.76), (2.96,27.56,3.52,27.88), (6.4,33.23,11.41,33.71)])
R(saff_delay_unit, via, [(3.285,27.645,3.435,27.795)])
R(saff_delay_unit, met2, [(1.86,25.76,3.52,26.08), (3.2,26.08,3.52,27.88), (9.87,26.08,10.19,26.92), (6.4,26.92,11.41,27.24), (6.4,32.77,11.41,33.09)])
saff_delay_unit.add(gdstk.Reference(saff_2, (0,8.41)))
saff_delay_unit.add(gdstk.Reference(delay_unit_2, (2.22,26.99)))

vernier_delay_line = lib.new_cell('vernier_delay_line')
R(vernier_delay_line, met1_pin, [(0,25.26,0.32,25.58), (-3.01,33.39,-2.69,33.71)])
R(vernier_delay_line, met1, [(-1.06,0,0,0.51), (-3.01,7.38,0.01,7.89), (-3.01,7.89,-2.21,23.88), (-1.06,8.8,0,9.36), (-3.01,23.88,0.05,24.29), (-3.01,24.29,0,24.67), (-3.01,24.67,-2.21,33.23), (-1.85,25.08,0,25.26), (-1.85,25.26,0.32,25.58), (-1.06,26.28,0,26.76), (-3.01,33.23,0,33.71)])
R(vernier_delay_line, via, [(-0.935,0.18,-0.785,0.33), (-0.615,0.18,-0.465,0.33), (-0.935,9.005,-0.785,9.155), (-0.615,9.005,-0.465,9.155), (-0.935,26.445,-0.785,26.595), (-0.615,26.445,-0.465,26.595)])
A(vernier_delay_line, met2_pin, 4.38, 0.81, 0.32, 0.32, 8, 1, 11.41, 0)
R(vernier_delay_line, met2_pin, [(-0.82,25.77,-0.5,26.09), (0,27.72,0.32,28.04), (0,32.77,0.32,33.09)])
A(vernier_delay_line, met2, 4.38, 0.81, 0.32, 0.32, 8, 1, 11.41, 0)
R(vernier_delay_line, met2, [(-1.06,0,-0.34,26.76), (0,27.72,0.32,28.04), (0,32.77,0.32,33.09)])
vernier_delay_line.add(gdstk.Reference(saff_delay_unit, (79.87,0)))
vernier_delay_line.add(gdstk.Reference(saff_delay_unit, (68.46,0)))
vernier_delay_line.add(gdstk.Reference(saff_delay_unit, (57.05,0)))
vernier_delay_line.add(gdstk.Reference(saff_delay_unit, (45.64,0)))
vernier_delay_line.add(gdstk.Reference(saff_delay_unit, (34.23,0)))
vernier_delay_line.add(gdstk.Reference(saff_delay_unit, (22.82,0)))
vernier_delay_line.add(gdstk.Reference(saff_delay_unit, (11.41,0)))
vernier_delay_line.add(gdstk.Reference(saff_delay_unit, (0,0)))
vernier_delay_line.add(gdstk.Reference(delay_unit_2, (93.5,26.99)))
vernier_delay_line.add(gdstk.Label('start_pos', (0.16,32.93), layer=69, texttype=5))
vernier_delay_line.add(gdstk.Label('start_neg', (0.16,27.88), layer=69, texttype=5))
vernier_delay_line.add(gdstk.Label('stop_strong', (0.16,25.42), layer=68, texttype=5))
vernier_delay_line.add(gdstk.Label('term_0', (4.54,0.97), layer=69, texttype=5))
vernier_delay_line.add(gdstk.Label('term_1', (15.95,0.97), layer=69, texttype=5))
vernier_delay_line.add(gdstk.Label('term_2', (27.36,0.97), layer=69, texttype=5))
vernier_delay_line.add(gdstk.Label('term_3', (38.77,0.97), layer=69, texttype=5))
vernier_delay_line.add(gdstk.Label('term_4', (50.18,0.97), layer=69, texttype=5))
vernier_delay_line.add(gdstk.Label('term_5', (61.59,0.97), layer=69, texttype=5))
vernier_delay_line.add(gdstk.Label('term_6', (73,0.97), layer=69, texttype=5))
vernier_delay_line.add(gdstk.Label('term_7', (84.41,0.97), layer=69, texttype=5))
vernier_delay_line.add(gdstk.Label('VDD', (-2.85,33.55), layer=68, texttype=5))
vernier_delay_line.add(gdstk.Label('VSS', (-0.66,25.93), layer=69, texttype=5))

lib.write_gds('vernier_delay_line.gds')
